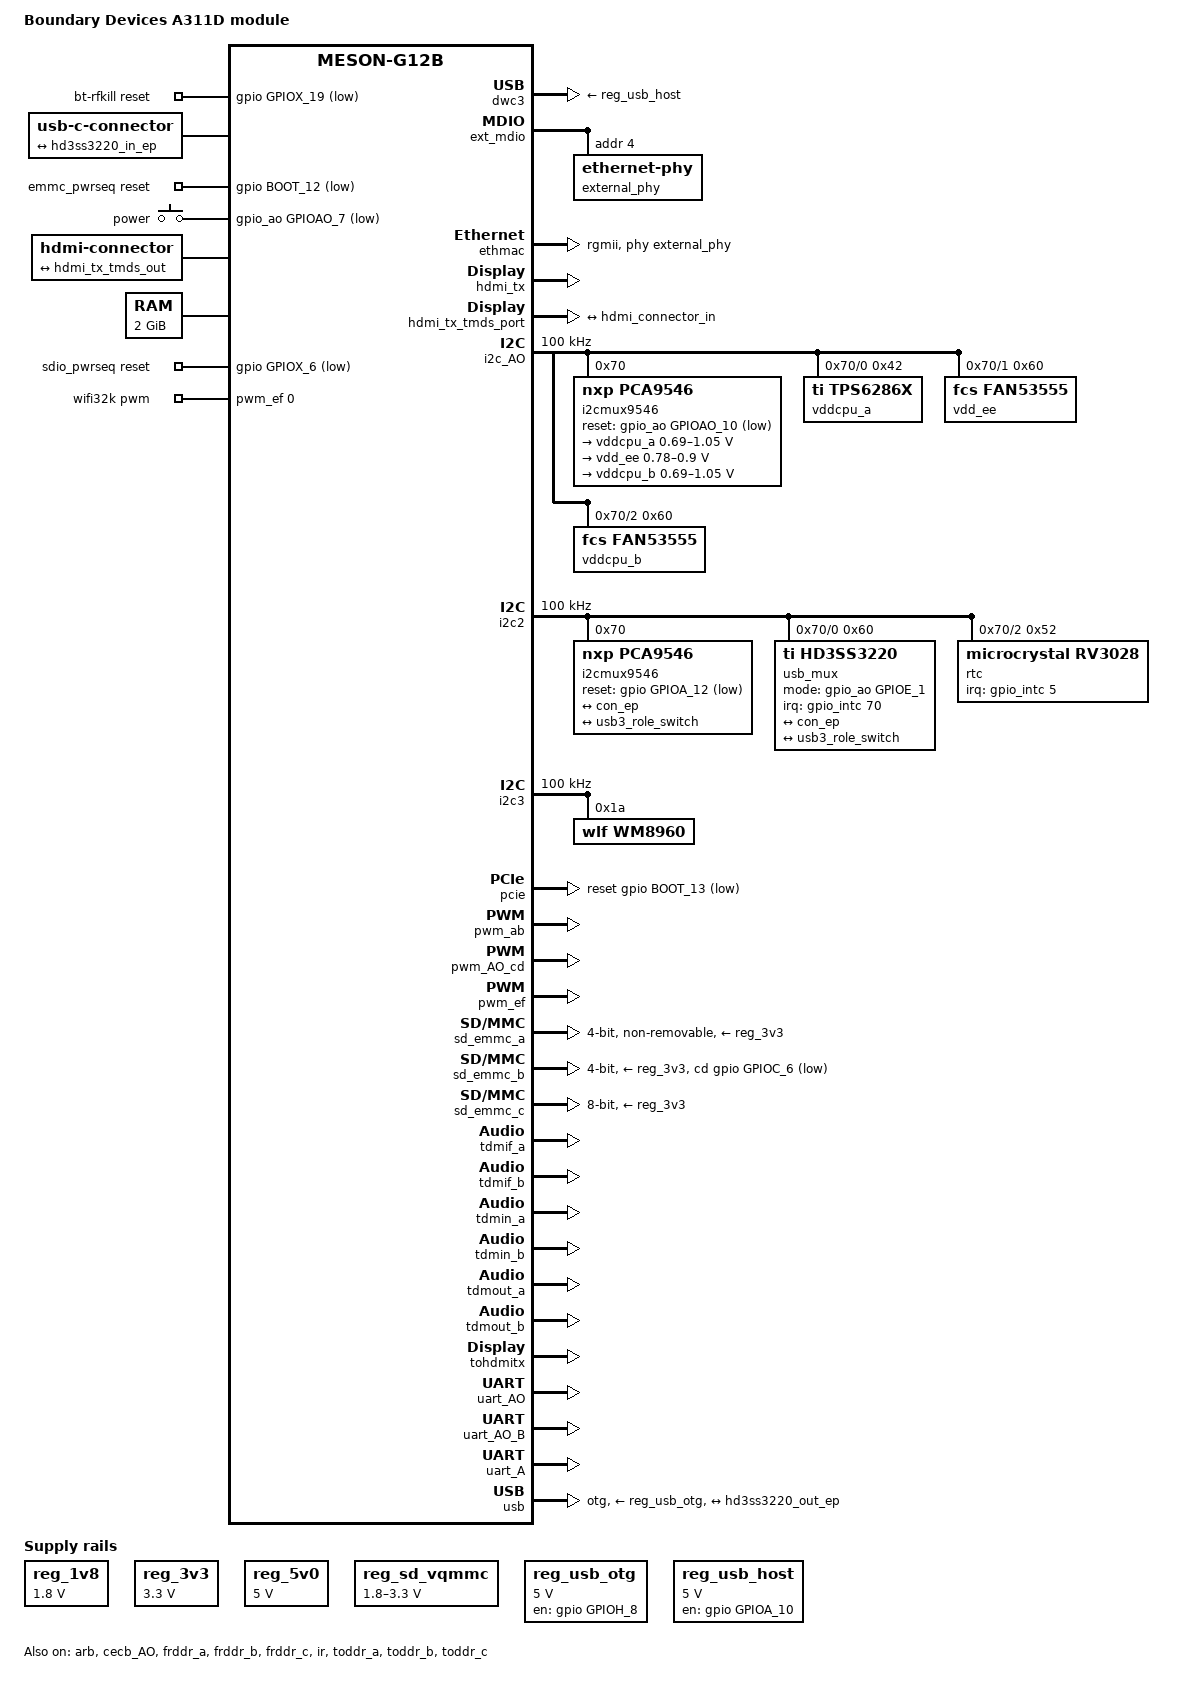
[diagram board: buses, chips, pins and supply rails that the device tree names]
// SPDX-License-Identifier: (GPL-2.0+ OR MIT)
/*
 * Copyright (c) 2021 Boundary Devices
 */

/dts-v1/;

#include <dt-bindings/input/input.h>
#include <dt-bindings/leds/common.h>
#include <dt-bindings/gpio/meson-g12a-gpio.h>
#include <dt-bindings/sound/meson-g12a-tohdmitx.h>
#include "meson-g12b-a311d.dtsi"

/ {
	compatible = "boundary,a311d-bd-som", "amlogic,a311d", "amlogic,g12b";
	model = "Boundary Devices A311D module";

	aliases {
		backlight_mipi = &backlight_mipi;
		ethernet0 = &ethmac;
		hdmi = &hdmi_tx;
		i2c0 = &i2c_AO;
		i2c1 = &i2c2;
		i2c2 = &i2c3;
		mipi_analog_dphy = &mipi_analog_dphy;
		mipi_dphy = &mipi_dphy;
		mipi_dsi = &mipi_dsi;
		pcie = &pcie;
		rtc1 = &vrtc;
		serial0 = &uart_AO;
		serial1 = &uart_AO_B;
		ts_goodix = &ts_goodix;
	};

	backlight_mipi: backlight-mipi {
		brightness-levels = <0 1 2 3 4 5 6 7 8 9 10>;
		compatible = "pwm-backlight";
		default-brightness-level = <8>;
		pwms = <&pwm_ef 1 30000 0>; /* 33.3 Khz */
		status = "disabled";
	};

	bt-rfkill {
		compatible = "net,rfkill-gpio";
		name = "bt-rfkill";
		type = <2>; /* bluetooth */
		reset-gpios = <&gpio GPIOX_19 GPIO_ACTIVE_LOW>;
		status = "okay";
	};

	chosen {
		stdout-path = "serial0:115200n8";
	};

	connector {
		compatible = "usb-c-connector";
		label = "USB-C";
		data-role = "dual";

		#address-cells = <1>;
		#size-cells = <0>;

		ports {
			#address-cells = <1>;
			#size-cells = <0>;

			port@1 {
				reg = <1>;
				con_ep: endpoint {
					remote-endpoint = <&hd3ss3220_in_ep>;
				};
			};
		};
	};

	emmc_pwrseq: emmc-pwrseq {
		compatible = "mmc-pwrseq-emmc";
		reset-gpios = <&gpio BOOT_12 GPIO_ACTIVE_LOW>;
	};

	gpio-keys-polled {
		compatible = "gpio-keys-polled";
		poll-interval = <100>;

		power-button {
			label = "power";
			linux,code = <KEY_POWER>;
			gpios = <&gpio_ao GPIOAO_7 GPIO_ACTIVE_LOW>;
		};
	};

	hdmi-connector {
		compatible = "hdmi-connector";
		type = "a";

		port {
			hdmi_connector_in: endpoint {
				remote-endpoint = <&hdmi_tx_tmds_out>;
			};
		};
	};

	memory@0 {
		device_type = "memory";
		reg = <0x0 0x0 0x0 0x80000000>;
	};

	reg_1v8: regulator-1v8 {
		compatible = "regulator-fixed";
		regulator-name = "VCC_1V8";
		regulator-min-microvolt = <1800000>;
		regulator-max-microvolt = <1800000>;
		regulator-always-on;
	};

	reg_3v3: regulator-3v3 {
		compatible = "regulator-fixed";
		regulator-name = "VSYS_3V3";
		regulator-min-microvolt = <3300000>;
		regulator-max-microvolt = <3300000>;
		regulator-always-on;
	};

	reg_5v0: regulator-5v0 {
		compatible = "regulator-fixed";
		regulator-name = "VCC_5V";
		regulator-min-microvolt = <5000000>;
		regulator-max-microvolt = <5000000>;
		enable-active-high;
	};

	reg_sd_vqmmc: regulator-sd-vqmmc {
		compatible = "regulator-gpio";
		gpios = <&gpio GPIOC_7 (GPIO_ACTIVE_HIGH | GPIO_OPEN_DRAIN)>;
		gpios-states = <1>;
		regulator-min-microvolt = <1800000>;
		regulator-max-microvolt = <3300000>;
		regulator-name = "SD_VQMMC";
		states = <1800000 0>,
			 <3300000 1>;
	};

	reg_usb_otg: regulator-usb-otg {
		compatible = "regulator-fixed";
		enable-active-high;
		gpio = <&gpio GPIOH_8 (GPIO_ACTIVE_HIGH | GPIO_OPEN_DRAIN)>;
		regulator-max-microvolt = <5000000>;
		regulator-min-microvolt = <5000000>;
		regulator-name = "USB_OTGPWR";
	};

	reg_usb_host: regulator-usb-host {
		compatible = "regulator-fixed";
		regulator-name = "USB_HOSTPWR";
		regulator-min-microvolt = <5000000>;
		regulator-max-microvolt = <5000000>;
		gpio = <&gpio GPIOA_10 GPIO_ACTIVE_HIGH>;
		enable-active-high;
	};

	sdio_pwrseq: sdio-pwrseq {
		compatible = "mmc-pwrseq-simple";
		reset-gpios = <&gpio GPIOX_6 GPIO_ACTIVE_LOW>;
		clocks = <&wifi32k>;
		clock-names = "ext_clock";
	};

	sound {
		compatible = "amlogic,axg-sound-card";
		model = "boundary-a311d";
		audio-aux-devs = <&tdmout_a>, <&tdmin_b>, <&tdmout_b>;
		audio-widgets = "Speaker", "Ext Spk",
				"Headphone", "Headphone Jack",
				"Microphone", "AMIC",
				"Microphone", "AMIC2";
		audio-routing = "Ext Spk", "WM SPK_LN",
				"Ext Spk", "WM SPK_LP",
				"Ext Spk", "WM SPK_RN",
				"Ext Spk", "WM SPK_RP",
				"Headphone Jack", "WM HP_L",
				"Headphone Jack", "WM HP_R",
				"WM LINPUT1", "AMIC",
				"AMIC", "WM MICB",
				"WM RINPUT1", "AMIC2",
				"AMIC2", "WM MICB",
				"TDM_B Capture", "WM Capture",
				"WM Playback", "TDM_B Playback",
				/*
				 * The below routes are unchanged for all boards
				 * But may be commented out to force a path.
				 * ie. FRDDR_A to wolfson codec only
				 * FRDDR_B to hdmi only
				 */
				/* 0-2:frddr_a-c*, 0-2:tdmout_a-c | 3-4:spdifout-b */
				/* Wolfson path */
				"TDMOUT_B IN 0", "FRDDR_A OUT 1",
				/* hdmi path */
				"TDMOUT_A IN 1", "FRDDR_B OUT 0",
				/* 0-2:tdmin_a-c | 3:spdifin | 4:pdmin | 6:tdmin_lb */
				"TODDR_A IN 1", "TDMIN_B OUT",
/* TOHDMITX I2S SRC - I2S A(separate), I2S B(together) */
#define PLAY_HDMI_WOLFSON_TOGETHER
#ifndef PLAY_HDMI_WOLFSON_TOGETHER
				"TDM_A Playback", "TDMOUT_A OUT",
#endif
				"TDM_B Playback", "TDMOUT_B OUT",
				"TDMIN_B IN 0", "TDM_B Capture";
		assigned-clocks = <&clkc CLKID_MPLL2>,
				  <&clkc CLKID_MPLL0>,
				  <&clkc CLKID_MPLL1>;
		assigned-clock-parents = <0>, <0>, <0>;
		assigned-clock-rates = <294912000>,
				       <270950400>,
				       <393216000>;
		status = "okay";

		dai-link-0 {
			sound-dai = <&frddr_a>;
		};

		dai-link-1 {
			sound-dai = <&frddr_b>;
		};

		dai-link-3 {
			sound-dai = <&toddr_a>;
		};
#ifdef PLAY_HDMI_WOLFSON_TOGETHER
		/* i2s wm8960 interface */
		/* 8ch hdmi interface */
		dai-link-6 {
			dai-format = "i2s";
			dai-tdm-slot-rx-mask-0 = <1 1>;
			dai-tdm-slot-tx-mask-0 = <1 1>;
			dai-tdm-slot-tx-mask-1 = <1 1>;
			dai-tdm-slot-tx-mask-2 = <1 1>;
			dai-tdm-slot-tx-mask-3 = <1 1>;
			mclk-fs = <256>;
			sound-dai = <&tdmif_b>;

			codec-0 {
				sound-dai = <&wm8960 0>;
			};

			codec-1 {
				sound-dai = <&tohdmitx TOHDMITX_I2S_IN_B>;
			};
		};
#else
		/* i2s wm8960 interface */
		dai-link-6 {
			dai-format = "i2s";
			dai-tdm-slot-rx-mask-0 = <1 1>;
			dai-tdm-slot-tx-mask-0 = <1 1>;
			mclk-fs = <256>;
			sound-dai = <&tdmif_b>;

			codec {
				sound-dai = <&wm8960 0>;
			};
		};

		/* 8ch hdmi interface */
		dai-link-7 {
			dai-format = "i2s";
			dai-tdm-slot-tx-mask-0 = <1 1>;
			dai-tdm-slot-tx-mask-1 = <1 1>;
			dai-tdm-slot-tx-mask-2 = <1 1>;
			dai-tdm-slot-tx-mask-3 = <1 1>;
			mclk-fs = <256>;
			sound-dai = <&tdmif_a>;

			codec {
				sound-dai = <&tohdmitx TOHDMITX_I2S_IN_A>;
			};
		};
#endif
		/* hdmi glue */
		dai-link-8 {
			sound-dai = <&tohdmitx TOHDMITX_I2S_OUT>;

			codec {
				sound-dai = <&hdmi_tx>;
			};
		};
	};

	wifi32k: wifi32k {
		compatible = "pwm-clock";
		#clock-cells = <0>;
		clock-frequency = <32768>;
		pwms = <&pwm_ef 0 30518 0>; /* PWM_E at 32.768KHz */
	};
};

&arb {
	status = "okay";
};

&cec_AO {
	pinctrl-0 = <&cec_ao_a_h_pins>;
	pinctrl-names = "default";
	status = "disabled";
	hdmi-phandle = <&hdmi_tx>;
};

&cecb_AO {
	pinctrl-0 = <&cec_ao_b_h_pins>;
	pinctrl-names = "default";
	status = "okay";
	hdmi-phandle = <&hdmi_tx>;
};

&clkc_audio {
	status = "okay";
};

&cpu0 {
	cpu-supply = <&vddcpu_b>;
	operating-points-v2 = <&cpu_opp_table_0>;
	clocks = <&clkc CLKID_CPU_CLK>;
	clock-latency = <50000>;
};

&cpu1 {
	cpu-supply = <&vddcpu_b>;
	operating-points-v2 = <&cpu_opp_table_0>;
	clocks = <&clkc CLKID_CPU_CLK>;
	clock-latency = <50000>;
};

&cpu100 {
	cpu-supply = <&vddcpu_a>;
	operating-points-v2 = <&cpub_opp_table_1>;
	clocks = <&clkc CLKID_CPUB_CLK>;
	clock-latency = <50000>;
};

&cpu101 {
	cpu-supply = <&vddcpu_a>;
	operating-points-v2 = <&cpub_opp_table_1>;
	clocks = <&clkc CLKID_CPUB_CLK>;
	clock-latency = <50000>;
};

&cpu102 {
	cpu-supply = <&vddcpu_a>;
	operating-points-v2 = <&cpub_opp_table_1>;
	clocks = <&clkc CLKID_CPUB_CLK>;
	clock-latency = <50000>;
};

&cpu103 {
	cpu-supply = <&vddcpu_a>;
	operating-points-v2 = <&cpub_opp_table_1>;
	clocks = <&clkc CLKID_CPUB_CLK>;
	clock-latency = <50000>;
};

&dwc3 {
	vbus-supply = <&reg_usb_host>;
};

&ext_mdio {
	external_phy: ethernet-phy@4 {
		/* Atheros AR8035 */
		interrupt-parent = <&gpio_intc>;
		/* MAC_INTR on GPIOZ_14 */
		interrupts = <26 IRQ_TYPE_LEVEL_LOW>;
		max-speed = <1000>;
		reg = <4>;
#if 0
		reset-assert-us = <10000>;
		reset-deassert-us = <30000>;
		reset-gpios = <&gpio GPIOZ_15 (GPIO_ACTIVE_LOW | GPIO_OPEN_DRAIN)>;
#endif
	};
};

&ethmac {
	pinctrl-0 = <&eth_pins>, <&eth_rgmii_pins>;
	pinctrl-names = "default";
	status = "okay";
	phy-mode = "rgmii";
	phy-handle = <&external_phy>;
	amlogic,tx-delay-ns = <2>;
};

&frddr_a {
	status = "okay";
};

&frddr_b {
	status = "okay";
};

&frddr_c {
	status = "okay";
};

&hdmi_tx {
	status = "okay";
	pinctrl-0 = <&hdmitx_hpd_pins>, <&hdmitx_ddc_pins>;
	pinctrl-names = "default";
	hdmi-supply = <&reg_5v0>;
};

&hdmi_tx_tmds_port {
	hdmi_tx_tmds_out: endpoint {
		remote-endpoint = <&hdmi_connector_in>;
	};
};

&i2c_AO {
	clock-frequency = <100000>;
	status = "okay";
	pinctrl-0 = <&i2c_ao_sck_pins>, <&i2c_ao_sda_pins>;
	pinctrl-names = "default";

	i2cmux9546@70 {
		#address-cells = <1>;
		#size-cells = <0>;
		compatible = "nxp,pca9546";
		reg = <0x70>;
		reset-gpios = <&gpio_ao GPIOAO_10 GPIO_ACTIVE_LOW>;
		status = "okay";

		i2c_AO_a: i2c@0 {
			#address-cells = <1>;
			#size-cells = <0>;
			clock-frequency = <400000>;
			reg = <0>;
		};

		i2c_AO_b: i2c@1 {
			#address-cells = <1>;
			#size-cells = <0>;
			reg = <1>;
		};

		i2c_AO_c: i2c@2 {
			#address-cells = <1>;
			#size-cells = <0>;
			reg = <2>;
		};

		i2c_AO_d: i2c@3 {
			#address-cells = <1>;
			#size-cells = <0>;
			reg = <3>;
		};
	};
};

&i2c_AO_a {
	vddcpu_a: regulator-vddcpu-a@42 {
		/* TPS628660AYCG Regulator */
		compatible = "ti,tps6286x";
		reg = <0x42>;
		regulator-name = "VDDCPU_A";
		regulator-min-microvolt = <690000>;
		regulator-max-microvolt = <1050000>;
		regulator-boot-on;
		regulator-always-on;
	};
};

&i2c_AO_b {
	vdd_ee: regulator-vddcpu-b@60 {
		/* fan5355 Regulator */
		compatible = "fcs,fan53555";
		reg = <0x60>;
		regulator-name = "VDD_EE";
		regulator-min-microvolt = <780000>;
		regulator-max-microvolt = <900000>;
		regulator-boot-on;
		regulator-always-on;
	};
};

&i2c_AO_c {
	vddcpu_b: regulator-vddcpu-b@60 {
		/* fan5355 Regulator */
		compatible = "fcs,fan53555";
		reg = <0x60>;
		regulator-name = "VDDCPU_B";
		regulator-min-microvolt = <690000>;
		regulator-max-microvolt = <1050000>;
		regulator-boot-on;
		regulator-always-on;
	};
};

&i2c_AO_d {
	/* camera connector */
};

&i2c2 {
	clock-frequency = <100000>;
	status = "okay";
	pinctrl-0 = <&i2c2_sck_x_pins>, <&i2c2_sda_x_pins>;
	pinctrl-names = "default";

	i2cmux9546@70 {
		#address-cells = <1>;
		#size-cells = <0>;
		compatible = "nxp,pca9546";
		reg = <0x70>;
		reset-gpios = <&gpio GPIOA_12 GPIO_ACTIVE_LOW>;
		status = "okay";

		i2c2_a: i2c@0 {
			#address-cells = <1>;
			#size-cells = <0>;
			reg = <0>;
		};

		i2c2_b: i2c@1 {
			#address-cells = <1>;
			#size-cells = <0>;
			reg = <1>;
		};

		i2c2_c: i2c@2 {
			#address-cells = <1>;
			#size-cells = <0>;
			reg = <2>;
		};

		i2c2_d: i2c@3 {
			#address-cells = <1>;
			#size-cells = <0>;
			reg = <3>;
		};
	};
};

&i2c2_a {
	/* TypeC chip */
	usb_mux: hd3ss3220@60 {
		/* tusb320 is compatible with hd3ss3220 */
		compatible = "ti,hd3ss3220";
		interrupts-extended = <&gpio_intc 70 IRQ_TYPE_LEVEL_LOW>; /* GPIOA_9 */
		mode = <2>;
		mode-gpios = <&gpio_ao GPIOE_1 GPIO_ACTIVE_HIGH>;
		reg = <0x60>;

		ports {
			#address-cells = <1>;
			#size-cells = <0>;

			port@0 {
				reg = <0>;
				hd3ss3220_in_ep: endpoint {
					remote-endpoint = <&con_ep>;
				};
			};

			port@1 {
				reg = <1>;
				hd3ss3220_out_ep: endpoint {
					remote-endpoint = <&usb3_role_switch>;
				};
			};
		};
	};
};

&i2c2_b {
	/* unused */
};

&i2c2_c {
	/* RTC */
	rtc@52 {
		backup-switchover-dsm;
		compatible = "microcrystal,rv3028";
		interrupts-extended = <&gpio_intc 5 IRQ_TYPE_LEVEL_LOW>;
		reg = <0x52>;
		wakeup-source;
	};
};

&i2c2_d {
	/* DSI touch controller */
	ts_goodix: touchscreen@5d {
		compatible = "goodix,gt9271";
		interrupts-extended = <&gpio_intc 85 IRQ_TYPE_LEVEL_HIGH>;
		irq-gpios = <&gpio GPIOX_8 GPIO_ACTIVE_HIGH>;
		reg = <0x5d>;
		reset-gpios = <&gpio GPIOX_9 GPIO_ACTIVE_LOW>;
		status = "disabled";
	};
};

/* i2c Audio */
&i2c3 {
	clock-frequency = <100000>;
	pinctrl-names = "default";
	pinctrl-0 = <&i2c3_sda_a_pins>, <&i2c3_sck_a_pins>;
	status = "okay";

	wm8960: codec@1a {
		assigned-clocks = <&clkc_audio AUD_CLKID_MST_A_MCLK>;
		assigned-clock-rates = <11289532>;
		/* a_mclk, but b_sclk, b_lrclk */
		clocks = <&clkc_audio AUD_CLKID_MST_A_MCLK>;
		clock-names = "mclk";
		compatible = "wlf,wm8960";
		reg = <0x1a>;
		sound-name-prefix = "WM";
		wlf,gpio-cfg = <1 3>;
		wlf,hp-cfg = <2 2 3>;
		wlf,shared-lrclk;
		#sound-dai-cells = <0>;
	};
};

&ir {
	status = "okay";
	pinctrl-0 = <&remote_input_ao_pins>;
	pinctrl-names = "default";
	linux,rc-map-name = "rc-khadas";
};

&mipi_dsi {
	status = "disabled";
	assigned-clocks = <&clkc CLKID_GP0_PLL>,
			  <&clkc CLKID_MIPI_DSI_PXCLK_SEL>,
			  <&clkc CLKID_MIPI_DSI_PXCLK>;
	assigned-clock-parents = <0>,
				 <&clkc CLKID_GP0_PLL>,
				 <0>;
	assigned-clock-rates = <720000000>,
			       <0>,
			       <720000000>;

	panel@0 {
		compatible = "leadtek,ltk080a60a004t";
		backlight = <&backlight_mipi>;
		enable-gpios = <&gpio GPIOX_11 GPIO_ACTIVE_HIGH>;
		power-supply = <&reg_3v3>;
		reg = <0>;

		port {
			mipi_in_panel: endpoint {
				remote-endpoint = <&mipi_out_panel>;
			};
		};
	};
};

&mipi_analog_dphy {
	status = "disabled";
};

&mipi_dphy {
	status = "disabled";
};

&mipi_dsi_panel_port {
	mipi_out_panel: endpoint {
		remote-endpoint = <&mipi_in_panel>;
	};
};

&pcie {
	status = "okay";
	reset-gpios = <&gpio BOOT_13 GPIO_ACTIVE_LOW>;
	ss-select-gpios = <&gpio GPIOA_13 GPIO_ACTIVE_LOW>;
};

&pwm_ab {
	pinctrl-0 = <&pwm_a_e_pins>;
	pinctrl-names = "default";
	clocks = <&xtal>;
	clock-names = "clkin0";
	status = "okay";
};

&pwm_AO_cd {
	pinctrl-0 = <&pwm_ao_d_e_pins>;
	pinctrl-names = "default";
	clocks = <&xtal>;
	clock-names = "clkin1";
	status = "okay";
};

&pwm_ef {
	status = "okay";
	pinctrl-0 = <&pwm_e_pins>, <&pwm_f_a_pins>;
	pinctrl-names = "default";
};

/* SDIO - WiFi */
&sd_emmc_a {
	status = "okay";
	pinctrl-0 = <&sdio_pins>;
	pinctrl-1 = <&sdio_clk_gate_pins>;
	pinctrl-names = "default", "clk-gate";
	#address-cells = <1>;
	#size-cells = <0>;
	bus-width = <4>;
	cap-sd-highspeed;
	sd-uhs-sdr104;
	max-frequency = <200000000>;
	non-removable;
	disable-wp;
	/* WiFi firmware requires power to be kept while in suspend */
	keep-power-in-suspend;
	mmc-pwrseq = <&sdio_pwrseq>;
	vmmc-supply = <&reg_3v3>;
	vqmmc-supply = <&reg_1v8>;
};

/* SD card */
&sd_emmc_b {
	status = "okay";
	pinctrl-0 = <&sdcard_c_pins>;
	pinctrl-1 = <&sdcard_clk_gate_c_pins>;
	pinctrl-names = "default", "clk-gate";

	bus-width = <4>;
#if 0
	cap-sd-highspeed;
	sd-uhs-sdr12;
	sd-uhs-sdr25;
	sd-uhs-sdr50;
	sd-uhs-ddr50;
	sd-uhs-sdr104;
#endif
	max-frequency = <200000000>;
	disable-wp;

	cd-gpios = <&gpio GPIOC_6 GPIO_ACTIVE_LOW>;
	vmmc-supply = <&reg_3v3>;
#if 0
	vqmmc-supply = <&reg_sd_vqmmc>;
#else
	vqmmc-supply = <&reg_3v3>;
#endif
};

/* eMMC */
&sd_emmc_c {
	status = "okay";
	pinctrl-0 = <&emmc_ctrl_pins>, <&emmc_data_8b_pins>;
	pinctrl-1 = <&emmc_clk_gate_pins>;
	pinctrl-names = "default", "clk-gate";

	bus-width = <8>;
	cap-mmc-highspeed;
	mmc-ddr-1_8v;
	mmc-hs200-1_8v;
	max-frequency = <200000000>;
	disable-wp;

	mmc-pwrseq = <&emmc_pwrseq>;
	vmmc-supply = <&reg_3v3>;
	vqmmc-supply = <&reg_1v8>;
};

&tdmif_a {
	status = "okay";
};

&tdmif_b {
	assigned-clocks = <&clkc_audio AUD_CLKID_TDM_SCLK_PAD1>,
			  <&clkc_audio AUD_CLKID_TDM_LRCLK_PAD1>;
	assigned-clock-parents = <&clkc_audio AUD_CLKID_MST_B_SCLK>,
				 <&clkc_audio AUD_CLKID_MST_B_LRCLK>;
	assigned-clock-rates = <0>, <0>;
	pinctrl-0 = <&tdm_b_fs_pins>, <&tdm_b_dout0_pins>, <&tdm_b_din1_pins>,
		    <&tdm_b_sclk_pins>, <&mclk0_a_pins>;
	pinctrl-names = "default";
	status = "okay";
};

&tdmin_a {
	status = "okay";
};

&tdmin_b {
	status = "okay";
};

&tdmout_a {
	status = "okay";
};

&tdmout_b {
	status = "okay";
};

&toddr_a {
	status = "okay";
};

&toddr_b {
	status = "okay";
};

&toddr_c {
	status = "okay";
};

&tohdmitx {
	status = "okay";
};

&uart_AO {
	status = "okay";
	pinctrl-0 = <&uart_ao_a_pins>;
	pinctrl-names = "default";
};

&uart_AO_B {
	status = "okay";
	pinctrl-0 = <&uart_ao_b_8_9_pins>;
	pinctrl-names = "default";
};

&uart_A {
	status = "okay";
	pinctrl-0 = <&uart_a_pins>, <&uart_a_cts_rts_pins>;
	pinctrl-names = "default";
};

&usb {
	status = "okay";
	dr_mode = "otg";
	phy-names = "usb2-phy0", "usb2-phy1";
	usb-role-switch;
	ss-select-gpios = <&gpio GPIOA_13 GPIO_ACTIVE_LOW>;

	vbus-supply = <&reg_usb_otg>;

	ports {
		#address-cells = <1>;
		#size-cells = <0>;

		port@1 {
			reg = <1>;
			usb3_role_switch: endpoint {
				remote-endpoint = <&hd3ss3220_out_ep>;
			};
		};
	};
};

&usb2_phy0 {
	phy-supply = <&reg_5v0>;
};

&usb2_phy1 {
	phy-supply = <&reg_5v0>;
};

&usb3_pcie_phy {
	phy-supply = <&reg_5v0>;
};
